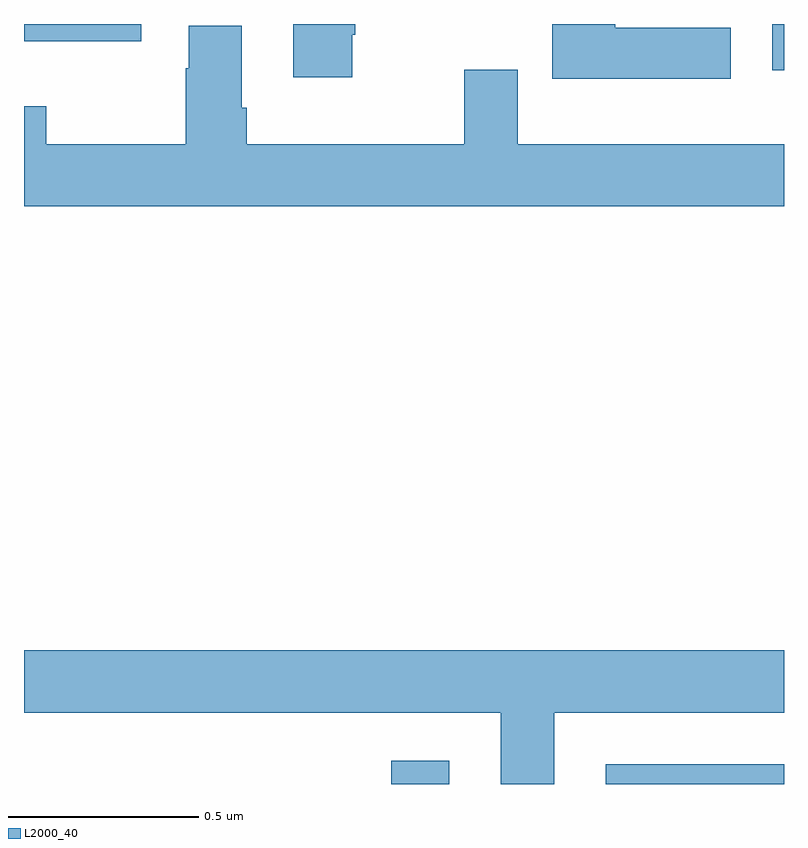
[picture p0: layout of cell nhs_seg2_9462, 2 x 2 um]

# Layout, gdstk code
import gdstk
lib = gdstk.Library(unit=1e-6, precision=1e-09)
def R(c, l, rs):  # rectangles x0, y0, x1, y1
    for r in rs: c.add(gdstk.rectangle(r[:2], r[2:], *l))
def P(c, l, *ps):  # polygons
    for p in ps: c.add(gdstk.Polygon(p, *l))
L2000_40 = (2000, 40)

nhs_seg2_9462 = lib.new_cell('nhs_seg2_9462')
R(nhs_seg2_9462, L2000_40, [(229.967,628.8,230.119,628.861), (230.531,628.8,231,628.852), (230.969,630.678,231,630.8), (229,630.755,229.309,630.8)])
P(nhs_seg2_9462, L2000_40, [(229.864,630.772),(229.872,630.772),(229.872,630.8),(229.709,630.8),(229.709,630.66),(229.864,630.66)],
  [(230.86,630.79),(230.556,630.79),(230.556,630.8),(230.39,630.8),(230.39,630.656),(230.86,630.656)],
  [(231,630.484),(230.299,630.484),(230.299,630.679),(230.159,630.679),(230.159,630.484),(229.586,630.484),(229.586,630.58),(229.573,630.58),(229.573,630.796),(229.433,630.796),(229.433,630.683),(229.426,630.683),(229.426,630.484),(229.059,630.484),(229.059,630.583),(229,630.583),(229,630.32),(231,630.32)],
  [(230.395,628.988),(231,628.988),(231,629.152),(229,629.152),(229,628.988),(230.255,628.988),(230.255,628.8),(230.395,628.8)])

lib.write_gds('nhs_seg2_9462.gds')
